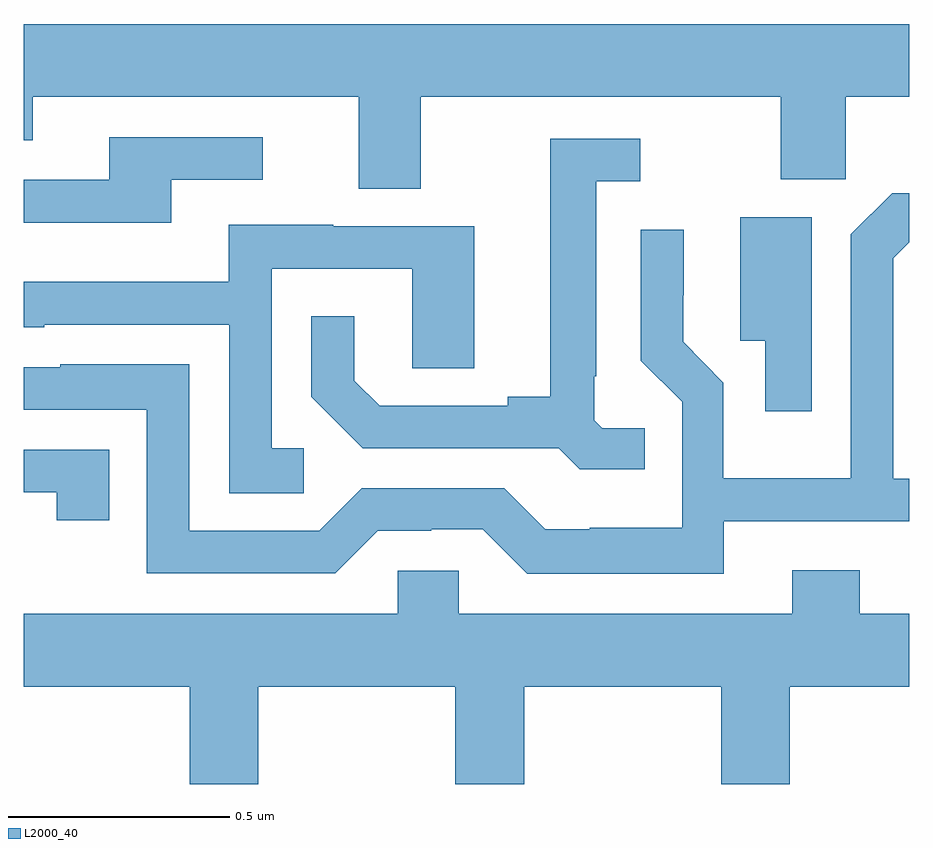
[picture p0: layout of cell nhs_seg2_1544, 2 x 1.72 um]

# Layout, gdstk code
import gdstk
lib = gdstk.Library(unit=1e-6, precision=1e-09)
def P(c, l, *ps):  # polygons
    for p in ps: c.add(gdstk.Polygon(p, *l))
L2000_40 = (2000, 40)

nhs_seg2_1544 = lib.new_cell('nhs_seg2_1544')
P(nhs_seg2_1544, L2000_40, [(130.897,598.352),(131.71,598.352),(131.71,598.165),(131.856,598.165),(131.856,598.352),(132,598.352),(132,598.516),(130,598.516),(130,598.253),(130.021,598.253),(130.021,598.352),(130.757,598.352),(130.757,598.144),(130.897,598.144)],
  [(130.333,598.164),(130.54,598.164),(130.54,598.26),(130.193,598.26),(130.193,598.164),(130,598.164),(130,598.067),(130.333,598.067)],
  [(131.402,597.603),(131.307,597.603),(131.289,597.621),(131.289,597.721),(131.293,597.721),(131.293,598.161),(131.392,598.161),(131.392,598.257),(131.189,598.257),(131.189,597.674),(131.093,597.674),(131.093,597.654),(130.804,597.654),(130.747,597.711),(130.747,597.856),(130.65,597.856),(130.65,597.674),(130.766,597.558),(131.208,597.558),(131.256,597.511),(131.402,597.511)],
  [(131.581,597.393),(132,597.393),(132,597.489),(131.964,597.489),(131.964,597.987),(132,598.023),(132,598.134),(131.961,598.134),(131.868,598.041),(131.868,597.49),(131.58,597.49),(131.58,597.706),(131.489,597.798),(131.489,597.904),(131.49,597.904),(131.49,598.051),(131.394,598.051),(131.394,597.756),(131.487,597.663),(131.487,597.379),(131.278,597.379),(131.278,597.375),(131.178,597.375),(131.085,597.468),(130.764,597.468),(130.668,597.372),(130.374,597.372),(130.374,597.748),(130.083,597.748),(130.083,597.741),(130,597.741),(130,597.645),(130.278,597.645),(130.278,597.276),(130.704,597.276),(130.8,597.372),(130.92,597.372),(130.92,597.375),(131.037,597.375),(131.137,597.275),(131.581,597.275)],
  [(131.779,598.08),(131.618,598.08),(131.618,597.801),(131.675,597.801),(131.675,597.642),(131.779,597.642)],
  [(130.633,597.558),(130.56,597.558),(130.56,597.963),(130.878,597.963),(130.878,597.739),(131.017,597.739),(131.017,598.059),(130.699,598.059),(130.699,598.063),(130.463,598.063),(130.463,597.934),(130,597.934),(130,597.831),(130.047,597.831),(130.047,597.837),(130.464,597.837),(130.464,597.457),(130.633,597.457)],
  [(130.193,597.555),(130,597.555),(130,597.459),(130.075,597.459),(130.075,597.396),(130.193,597.396)],
  [(130.983,597.282),(130.845,597.282),(130.845,597.184),(130,597.184),(130,597.02),(130.375,597.02),(130.375,596.8),(130.53,596.8),(130.53,597.02),(130.975,597.02),(130.975,596.8),(131.13,596.8),(131.13,597.02),(131.575,597.02),(131.575,596.8),(131.73,596.8),(131.73,597.02),(132,597.02),(132,597.184),(131.888,597.184),(131.888,597.283),(131.735,597.283),(131.735,597.184),(130.983,597.184)])

lib.write_gds('nhs_seg2_1544.gds')
